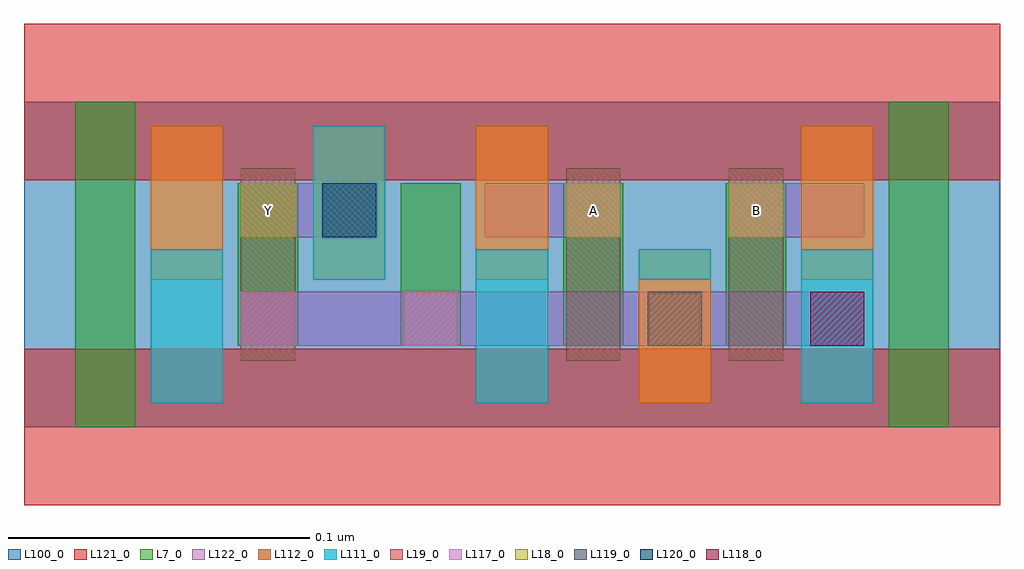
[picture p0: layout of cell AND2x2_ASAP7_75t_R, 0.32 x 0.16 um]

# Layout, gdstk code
import gdstk
lib = gdstk.Library(unit=1e-6, precision=2.5e-10)
def R(c, l, rs):  # rectangles x0, y0, x1, y1
    for r in rs: c.add(gdstk.rectangle(r[:2], r[2:], *l))
def A(c, l, x, y, w, h, nx, ny, dx, dy):  # array of equal rectangles
    R(c, l, [(x+i*dx, y+j*dy, x+i*dx+w, y+j*dy+h) for i in range(nx) for j in range(ny)])
L7_0 = (7, 0)
L18_0 = (18, 0)
L19_0 = (19, 0)
L100_0 = (100, 0)
L111_0 = (111, 0)
L112_0 = (112, 0)
L117_0 = (117, 0)
L118_0 = (118, 0)
L119_0 = (119, 0)
L120_0 = (120, 0)
L121_0 = (121, 0)
L122_0 = (122, 0)

and2x2_asap7_75t_r = lib.new_cell('AND2x2_ASAP7_75t_R')
A(and2x2_asap7_75t_r, L7_0, 0.071, 0.027, 0.02, 0.054, 4, 1, 0.054, 0)
R(and2x2_asap7_75t_r, L7_0, [(0.017,0,0.037,0.108), (0.287,0,0.307,0.108)])
R(and2x2_asap7_75t_r, L18_0, [(0.072,0.063,0.09,0.081), (0.18,0.063,0.198,0.081), (0.234,0.063,0.252,0.081)])
R(and2x2_asap7_75t_r, L19_0, [(0.072,0.022,0.09,0.086), (0.18,0.022,0.198,0.086), (0.234,0.022,0.252,0.086)])
R(and2x2_asap7_75t_r, L100_0, [(0,0,0.324,0.108)])
A(and2x2_asap7_75t_r, L111_0, 0.042, 0.008, 0.024, 0.051, 3, 1, 0.108, 0)
R(and2x2_asap7_75t_r, L111_0, [(0.096,0.049,0.12,0.1), (0.204,0.049,0.228,0.059)])
A(and2x2_asap7_75t_r, L112_0, 0.042, 0.049, 0.024, 0.051, 3, 1, 0.054, 0)
R(and2x2_asap7_75t_r, L112_0, [(0.204,0.008,0.228,0.059), (0.258,0.049,0.282,0.1)])
R(and2x2_asap7_75t_r, L117_0, [(0.072,0.027,0.09,0.045), (0.126,0.027,0.144,0.045), (0.18,0.063,0.198,0.081), (0.234,0.063,0.252,0.081)])
R(and2x2_asap7_75t_r, L118_0, [(0.261,0.027,0.279,0.045)])
R(and2x2_asap7_75t_r, L119_0, [(0.207,0.027,0.225,0.045), (0.099,0.063,0.117,0.081)])
R(and2x2_asap7_75t_r, L120_0, [(0.099,0.063,0.117,0.081)])
R(and2x2_asap7_75t_r, L121_0, [(0,-0.026,0.324,0.026), (0,0.082,0.324,0.134)])
A(and2x2_asap7_75t_r, L122_0, 0.072, 0.063, 0.045, 0.018, 3, 1, 0.081, 0)
R(and2x2_asap7_75t_r, L122_0, [(0.072,0.027,0.279,0.045)])
and2x2_asap7_75t_r.add(gdstk.Label('Y', (0.081,0.072), layer=19, texttype=251))
and2x2_asap7_75t_r.add(gdstk.Label('B', (0.243,0.072), layer=19, texttype=251))
and2x2_asap7_75t_r.add(gdstk.Label('A', (0.189,0.072), layer=19, texttype=251))

lib.write_gds('AND2x2_ASAP7_75t_R.gds')
